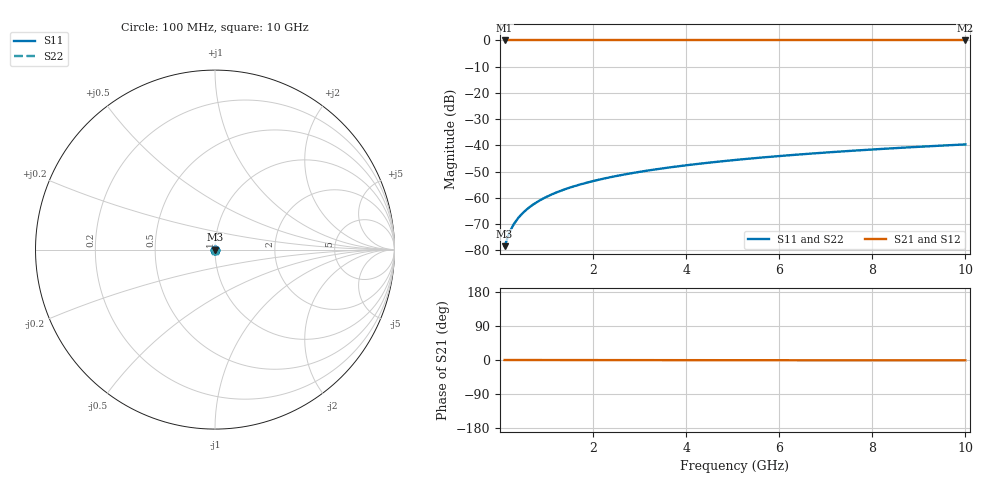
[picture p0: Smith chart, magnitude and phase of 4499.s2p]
# Hz S RI R 50.00
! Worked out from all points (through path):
!   100 points, 100 MHz to 10 GHz, reference 50 ohm
!   highest |S21| = 0.00 dB at 100 MHz (marker M1); lowest = 0.0 dB at 10 GHz (marker M2)
!   lowest |S11| = -78.5 dB at 100 MHz (marker M3), VSWR 1.00, Z = 50 - j0.0104 ohm
!   |S11| at or under -10 dB: start of sweep to end of sweep
!   |S22| runs from -78.5 to -39.6 dB; largest |S21 - S12| = 0
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1e8  5.89e-05 -0.000104  0.9999 -0.000179  0.9999 -0.000179  5.89e-05 -0.000104
2e8  5.91e-05 -0.000208  0.9999 -0.000357  0.9999 -0.000357  5.91e-05 -0.000208
3e8  5.92e-05 -0.000312  0.9999 -0.000536  0.9999 -0.000536  5.92e-05 -0.000312
4e8  5.92e-05 -0.000416  0.9999 -0.000714  0.9999 -0.000714  5.92e-05 -0.000416
5e8  5.91e-05 -0.00052  0.9999 -0.000893  0.9999 -0.000893  5.91e-05 -0.00052
6e8  5.89e-05 -0.000624  0.9999 -0.00107  0.9999 -0.00107  5.89e-05 -0.000624
7e8  5.87e-05 -0.000728  0.9999 -0.00125  0.9999 -0.00125  5.87e-05 -0.000728
8e8  5.85e-05 -0.000832  0.9999 -0.00143  0.9999 -0.00143  5.85e-05 -0.000832
9e8  5.82e-05 -0.000936  0.9999 -0.00161  0.9999 -0.00161  5.82e-05 -0.000936
1.1e9  5.74e-05 -0.00114  0.9999 -0.00196  0.9999 -0.00196  5.74e-05 -0.00114
1.4e9  5.6e-05 -0.00146  0.9999 -0.0025  0.9999 -0.0025  5.6e-05 -0.00146
1.8e9  5.35e-05 -0.00187  0.9999 -0.00321  0.9999 -0.00321  5.35e-05 -0.00187
2.1e9  5.12e-05 -0.00218  0.9999 -0.00375  0.9999 -0.00375  5.12e-05 -0.00218
2.5e9  4.76e-05 -0.0026  0.9999 -0.00447  0.9999 -0.00447  4.76e-05 -0.0026
2.9e9  4.34e-05 -0.00302  0.9999 -0.00518  0.9999 -0.00518  4.34e-05 -0.00302
3.4e9  3.73e-05 -0.00354  0.9999 -0.00607  0.9999 -0.00607  3.73e-05 -0.00354
4.2e9  2.55e-05 -0.00437  0.9999 -0.0075  0.9999 -0.0075  2.55e-05 -0.00437
5.1e9  9.42e-06 -0.00531  0.9999 -0.00911  0.9999 -0.00911  9.42e-06 -0.00531
5.9e9  -7.43e-06 -0.00614  0.9999 -0.0105  0.9999 -0.0105  -7.43e-06 -0.00614
6.7e9  -2.67e-05 -0.00698  0.9998 -0.012  0.9998 -0.012  -2.67e-05 -0.00698
8.4e9  -7.55e-05 -0.00875  0.9998 -0.015  0.9998 -0.015  -7.55e-05 -0.00875
1e10  -0.000131 -0.0104  0.9997 -0.0179  0.9997 -0.0179  -0.000131 -0.0104
